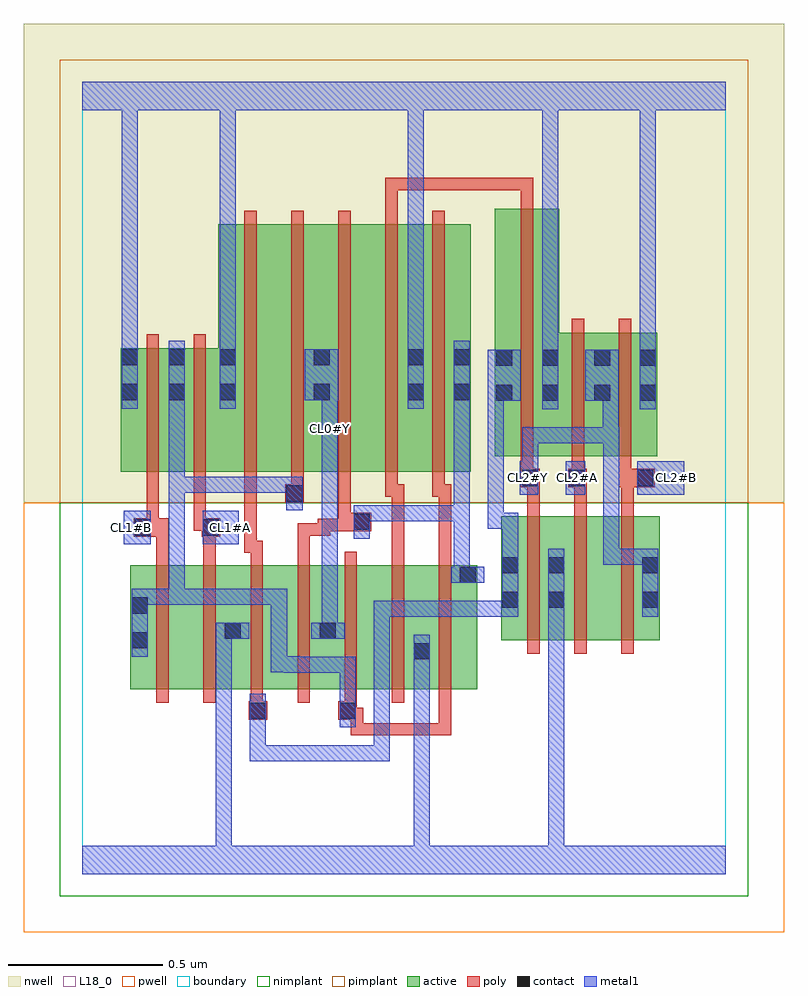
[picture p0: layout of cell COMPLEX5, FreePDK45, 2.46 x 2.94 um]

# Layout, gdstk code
import gdstk
lib = gdstk.Library(unit=1e-6, precision=1e-09)
def R(c, l, rs):  # rectangles x0, y0, x1, y1
    for r in rs: c.add(gdstk.rectangle(r[:2], r[2:], *l))
def A(c, l, x, y, w, h, nx, ny, dx, dy):  # array of equal rectangles
    R(c, l, [(x+i*dx, y+j*dy, x+i*dx+w, y+j*dy+h) for i in range(nx) for j in range(ny)])
active = (1, 0)
pwell = (2, 0)
nwell = (3, 0)
nimplant = (4, 0)
pimplant = (5, 0)
poly = (9, 0)
contact = (10, 0)
metal1 = (11, 0)
L18_0 = (18, 0)
boundary = (235, 0)

complex5 = lib.new_cell('COMPLEX5')
R(complex5, active, [(0.156,0.598,0.336,0.998), (0.336,0.598,0.516,0.998), (0.456,0.598,0.64,0.998), (0.64,0.598,0.824,0.998), (0.764,0.598,0.944,0.998), (0.764,0.598,0.824,0.816), (0.944,0.598,1.128,0.998), (1.068,0.598,1.276,0.998), (1.068,0.598,1.128,0.75), (0.156,0.726,0.216,0.998), (0.456,0.756,0.516,0.816), (1.216,0.756,1.276,0.998), (1.354,0.756,1.414,1.156), (1.354,0.756,1.562,1.156), (1.502,0.756,1.562,1.156), (1.502,0.756,1.686,1.156), (1.686,0.756,1.866,1.156), (1.806,0.756,1.866,1.156), (0.124,1.3,0.184,1.7), (0.124,1.3,0.336,1.7), (0.276,1.3,0.336,1.7), (0.276,1.3,0.5,1.7), (0.44,1.3,0.62,2.1), (0.44,1.3,0.5,1.82), (0.62,1.3,0.804,2.1), (0.744,1.3,0.804,2.044), (0.744,1.3,0.924,2.1), (0.924,1.3,1.108,2.1), (1.048,1.3,1.256,2.1), (1.048,1.3,1.108,2.044), (1.196,1.3,1.256,2.044), (1.334,1.35,1.542,2.15), (1.334,1.35,1.394,2.044), (1.482,1.35,1.71,1.75), (1.482,1.35,1.542,2.15), (1.65,1.35,1.71,1.75), (1.65,1.35,1.858,1.75), (1.798,1.35,1.858,1.698)])
R(complex5, pwell, [(-0.188,-0.188,2.268,1.2)])
R(complex5, nwell, [(-0.188,1.2,2.268,2.748)])
R(complex5, nimplant, [(-0.072,-0.072,2.152,1.2)])
R(complex5, pimplant, [(-0.072,1.2,2.152,2.632)])
A(complex5, poly, 0.24, 0.554, 0.04, 0.488, 7, 1, 0.152, 0)
A(complex5, poly, 1.438, 0.712, 0.04, 0.488, 3, 1, 0.152, 0)
A(complex5, poly, 1.438, 1.16, 0.04, 0.13, 3, 1, 0.152, 0)
A(complex5, poly, 0.524, 1.256, 0.04, 0.888, 5, 1, 0.152, 0)
R(complex5, poly, [(0.868,0.448,0.994,0.488), (0.868,0.448,0.908,0.538), (0.954,0.448,0.994,0.488), (0.954,0.448,1.192,0.488), (1.152,0.448,1.192,0.488), (1.152,0.448,1.192,0.488), (1.152,0.448,1.192,0.488), (1.152,0.448,1.192,0.594), (0.538,0.498,0.598,0.558), (0.828,0.498,0.888,0.558), (0.848,0.498,0.908,0.538), (0.544,0.518,0.584,0.594), (0.848,0.518,0.888,0.594), (0.24,1.002,0.28,1.13), (0.392,1.002,0.432,1.13), (0.544,1.002,0.584,1.078), (0.696,1.002,0.736,1.134), (1,1.002,1.04,1.26), (1.152,1.002,1.192,1.26), (0.524,1.038,0.564,1.296), (0.524,1.038,0.584,1.078), (0.544,1.038,0.584,1.078), (0.544,1.038,0.584,1.078), (0.166,1.09,0.28,1.15), (0.386,1.09,0.446,1.15), (0.696,1.094,0.736,1.134), (0.696,1.094,0.802,1.134), (0.762,1.094,0.802,1.148), (0.762,1.108,0.868,1.148), (0.828,1.108,0.934,1.168), (0.208,1.11,0.248,1.15), (0.208,1.11,0.248,1.15), (0.208,1.11,0.248,1.296), (0.36,1.11,0.4,1.296), (0.36,1.11,0.426,1.15), (0.386,1.11,0.426,1.15), (0.828,1.128,0.868,1.168), (0.828,1.128,0.868,1.168), (0.828,1.128,0.868,1.296), (0.656,1.2,0.716,1.26), (0.676,1.22,0.716,1.296), (0.98,1.22,1.02,1.296), (0.98,1.22,1.04,1.26), (1,1.22,1.04,1.26), (1,1.22,1.04,1.26), (1.132,1.22,1.172,1.296), (1.132,1.22,1.172,1.26), (1.132,1.22,1.172,1.26), (1.132,1.22,1.192,1.26), (1.418,1.25,1.478,1.31), (1.438,1.25,1.478,1.29), (1.438,1.25,1.478,1.29), (1.57,1.25,1.63,1.31), (1.734,1.25,1.85,1.31), (1.742,1.25,1.782,1.29), (1.742,1.25,1.782,1.29), (0.208,1.256,0.248,1.744), (0.36,1.256,0.4,1.744), (1.418,1.27,1.458,1.346), (1.582,1.27,1.622,1.346), (1.582,1.27,1.622,1.31), (1.582,1.27,1.622,1.31), (1.734,1.27,1.774,1.346), (1.418,1.306,1.458,2.194), (1.582,1.306,1.622,1.794), (1.734,1.306,1.774,1.794), (0.98,2.104,1.02,2.25), (1.418,2.154,1.458,2.25), (0.98,2.21,1.02,2.25), (0.98,2.21,1.04,2.25), (1,2.21,1.04,2.25), (1,2.21,1.352,2.25), (1.312,2.21,1.352,2.25), (1.312,2.21,1.352,2.25), (1.312,2.21,1.352,2.25), (1.312,2.21,1.458,2.25), (1.418,2.21,1.458,2.25), (1.418,2.21,1.458,2.25), (1.418,2.21,1.458,2.25)])
A(complex5, contact, 0.444, 1.532, 0.052, 0.052, 3, 2, 0.304, 0.112)
R(complex5, contact, [(0.542,0.502,0.594,0.554), (0.832,0.502,0.884,0.554), (1.072,0.694,1.124,0.746), (0.16,0.73,0.212,0.782), (0.46,0.76,0.512,0.812), (0.768,0.76,0.82,0.812), (0.16,0.842,0.212,0.894), (1.358,0.86,1.41,0.912), (1.506,0.86,1.558,0.912), (1.81,0.86,1.862,0.912), (1.22,0.942,1.272,0.994), (1.358,0.972,1.41,1.024), (1.506,0.972,1.558,1.024), (1.81,0.972,1.862,1.024), (0.17,1.094,0.222,1.146), (0.39,1.094,0.442,1.146), (0.878,1.112,0.93,1.164), (0.66,1.204,0.712,1.256), (1.422,1.254,1.474,1.306), (1.574,1.254,1.626,1.306), (1.794,1.254,1.846,1.306), (1.338,1.53,1.39,1.582), (1.486,1.53,1.538,1.582), (1.654,1.53,1.706,1.582), (1.802,1.53,1.854,1.582), (0.128,1.532,0.18,1.584), (0.28,1.532,0.332,1.584), (1.2,1.532,1.252,1.584), (1.338,1.642,1.39,1.694), (1.486,1.642,1.538,1.694), (1.654,1.642,1.706,1.694), (1.802,1.642,1.854,1.694), (0.128,1.644,0.18,1.696), (0.28,1.644,0.332,1.696), (1.2,1.644,1.252,1.696)])
R(complex5, metal1, [(0,0,2.08,0.092), (0.432,0.04,0.484,0.092), (0.432,0.04,0.484,0.092), (0.432,0.04,0.484,0.092), (0.432,0.04,0.484,0.092), (0.432,0.04,0.484,0.092), (0.432,0.04,0.484,0.092), (0.432,0.04,0.484,0.092), (0.432,0.04,0.484,0.092), (0.432,0.04,0.484,0.092), (0.432,0.04,0.484,0.092), (0.432,0.04,0.484,0.092), (0.432,0.04,0.484,0.092), (0.432,0.04,0.484,0.812), (1.072,0.04,1.124,0.092), (1.072,0.04,1.124,0.092), (1.072,0.04,1.124,0.092), (1.072,0.04,1.124,0.092), (1.072,0.04,1.124,0.092), (1.072,0.04,1.124,0.092), (1.072,0.04,1.124,0.092), (1.072,0.04,1.124,0.092), (1.072,0.04,1.124,0.092), (1.072,0.04,1.124,0.092), (1.072,0.04,1.124,0.718), (1.506,0.04,1.558,0.092), (1.506,0.04,1.558,0.092), (1.506,0.04,1.558,0.092), (1.506,0.04,1.558,0.092), (1.506,0.04,1.558,0.092), (1.506,0.04,1.558,0.092), (1.506,0.04,1.558,0.092), (1.506,0.04,1.558,0.092), (1.506,0.04,1.558,0.092), (1.506,0.04,1.558,0.092), (1.506,0.04,1.558,0.092), (1.506,0.04,1.558,0.092), (1.506,0.04,1.558,0.884), (0.542,0.364,0.594,0.416), (0.542,0.364,0.594,0.526), (0.542,0.364,0.774,0.416), (0.722,0.364,0.774,0.416), (0.722,0.364,0.774,0.416), (0.722,0.364,0.774,0.416), (0.722,0.364,0.994,0.416), (0.942,0.364,0.994,0.416), (0.942,0.364,0.994,0.416), (0.942,0.364,0.994,0.416), (0.942,0.364,0.994,0.884), (0.542,0.474,0.594,0.526), (0.542,0.474,0.594,0.526), (0.542,0.474,0.594,0.582), (0.832,0.474,0.884,0.582), (0.832,0.53,0.884,0.582), (0.832,0.53,0.884,0.582), (0.832,0.53,0.884,0.702), (0.652,0.65,0.884,0.702), (0.652,0.65,0.704,0.704), (0.832,0.65,0.884,0.702), (0.61,0.652,0.662,0.704), (0.61,0.652,0.662,0.704), (0.61,0.652,0.662,0.704), (0.61,0.652,0.662,0.704), (0.61,0.652,0.662,0.704), (0.61,0.652,0.704,0.704), (0.61,0.652,0.662,0.922), (1.072,0.666,1.124,0.718), (1.072,0.666,1.124,0.718), (1.072,0.666,1.124,0.774), (0.16,0.702,0.212,0.922), (0.432,0.76,0.54,0.812), (0.74,0.76,0.848,0.812), (0.774,0.76,0.826,1.438), (0.942,0.832,0.994,0.884), (0.942,0.832,0.994,0.884), (0.942,0.832,0.994,0.884), (0.942,0.832,0.994,0.884), (0.942,0.832,0.994,0.884), (0.942,0.832,1.104,0.884), (1.052,0.832,1.104,0.884), (1.052,0.832,1.104,0.884), (1.052,0.832,1.104,0.884), (1.052,0.832,1.252,0.884), (1.2,0.832,1.252,0.884), (1.2,0.832,1.252,0.884), (1.2,0.832,1.252,0.884), (1.2,0.832,1.41,0.884), (1.358,0.832,1.41,1.052), (1.506,0.832,1.558,1.052), (1.81,0.832,1.862,1.052), (0.16,0.87,0.212,0.922), (0.16,0.87,0.212,0.922), (0.16,0.87,0.332,0.922), (0.28,0.87,0.332,0.922), (0.28,0.87,0.332,0.922), (0.28,0.87,0.332,0.922), (0.28,0.87,0.484,0.922), (0.28,0.87,0.332,1.284), (0.432,0.87,0.484,0.922), (0.432,0.87,0.484,0.922), (0.432,0.87,0.484,0.922), (0.432,0.87,0.662,0.922), (0.61,0.87,0.662,0.922), (1.192,0.942,1.3,0.994), (1.2,0.942,1.252,1.192), (1.358,1,1.41,1.052), (1.358,1,1.41,1.052), (1.358,1,1.41,1.052), (1.358,1,1.41,1.052), (1.358,1,1.41,1.168), (1.684,1,1.736,1.052), (1.684,1,1.862,1.052), (1.684,1,1.736,1.444), (1.81,1,1.862,1.052), (1.81,1,1.862,1.052), (0.134,1.066,0.222,1.174), (0.39,1.066,0.506,1.174), (0.878,1.084,0.93,1.192), (1.31,1.116,1.362,1.582), (1.31,1.116,1.41,1.168), (0.878,1.14,0.994,1.192), (0.942,1.14,0.994,1.192), (0.942,1.14,1.134,1.192), (1.082,1.14,1.134,1.192), (1.082,1.14,1.134,1.192), (1.082,1.14,1.134,1.192), (1.082,1.14,1.252,1.192), (1.2,1.14,1.252,1.192), (1.2,1.14,1.252,1.192), (1.2,1.14,1.252,1.192), (1.2,1.14,1.252,1.556), (0.66,1.176,0.712,1.284), (1.414,1.226,1.474,1.334), (1.562,1.226,1.626,1.334), (1.794,1.226,1.946,1.334), (0.28,1.232,0.332,1.284), (0.28,1.232,0.332,1.284), (0.28,1.232,0.332,1.284), (0.28,1.232,0.332,1.284), (0.28,1.232,0.332,1.284), (0.28,1.232,0.484,1.284), (0.28,1.232,0.332,1.556), (0.432,1.232,0.484,1.284), (0.432,1.232,0.484,1.284), (0.432,1.232,0.484,1.284), (0.432,1.232,0.662,1.284), (0.61,1.232,0.662,1.284), (0.61,1.232,0.712,1.284), (1.422,1.282,1.474,1.334), (1.422,1.282,1.474,1.444), (0.774,1.386,0.826,1.494), (1.422,1.392,1.734,1.444), (1.682,1.392,1.734,1.444), (1.682,1.392,1.734,1.444), (1.682,1.392,1.734,1.582), (1.682,1.392,1.736,1.444), (1.684,1.392,1.736,1.444), (1.684,1.392,1.736,1.444), (0.774,1.442,0.826,1.494), (0.774,1.442,0.826,1.494), (0.774,1.442,0.826,1.584), (1.486,1.502,1.538,1.722), (1.802,1.502,1.854,1.722), (0.128,1.504,0.18,1.724), (0.28,1.504,0.332,1.724), (0.444,1.504,0.496,1.724), (1.052,1.504,1.104,1.724), (1.2,1.504,1.252,1.556), (1.2,1.504,1.252,1.556), (1.2,1.504,1.252,1.724), (1.31,1.53,1.362,1.582), (1.31,1.53,1.362,1.582), (1.31,1.53,1.418,1.694), (1.626,1.53,1.734,1.694), (0.72,1.532,0.828,1.696), (1.486,1.67,1.538,1.722), (1.486,1.67,1.538,1.722), (1.486,1.67,1.538,1.722), (1.486,1.67,1.538,1.722), (1.486,1.67,1.538,1.722), (1.486,1.67,1.538,1.722), (1.486,1.67,1.538,1.722), (1.486,1.67,1.538,1.722), (1.486,1.67,1.538,2.52), (1.802,1.67,1.854,1.722), (1.802,1.67,1.854,1.722), (1.802,1.67,1.854,2.52), (0.128,1.672,0.18,1.724), (0.128,1.672,0.18,1.724), (0.128,1.672,0.18,2.52), (0.444,1.672,0.496,1.724), (0.444,1.672,0.496,1.724), (0.444,1.672,0.496,1.724), (0.444,1.672,0.496,1.724), (0.444,1.672,0.496,1.724), (0.444,1.672,0.496,1.724), (0.444,1.672,0.496,2.52), (1.052,1.672,1.104,1.724), (1.052,1.672,1.104,1.724), (1.052,1.672,1.104,1.724), (1.052,1.672,1.104,1.724), (1.052,1.672,1.104,2.52), (0,2.468,2.08,2.56), (0.128,2.468,0.18,2.52), (0.128,2.468,0.18,2.52), (0.128,2.468,0.18,2.52), (0.128,2.468,0.18,2.52), (0.128,2.468,0.18,2.52), (0.128,2.468,0.18,2.52), (0.128,2.468,0.18,2.52), (0.128,2.468,0.18,2.52), (0.128,2.468,0.18,2.52), (0.128,2.468,0.18,2.52), (0.128,2.468,0.18,2.52), (0.128,2.468,0.18,2.52), (0.128,2.468,0.18,2.52), (0.128,2.468,0.18,2.52), (0.444,2.468,0.496,2.52), (0.444,2.468,0.496,2.52), (1.052,2.468,1.104,2.52), (1.052,2.468,1.104,2.52), (1.052,2.468,1.104,2.52), (1.052,2.468,1.104,2.52), (1.802,2.468,1.854,2.52), (1.802,2.468,1.854,2.52), (1.802,2.468,1.854,2.52), (1.802,2.468,1.854,2.52), (1.802,2.468,1.854,2.52), (1.802,2.468,1.854,2.52), (1.802,2.468,1.854,2.52), (1.802,2.468,1.854,2.52), (1.802,2.468,1.854,2.52), (1.802,2.468,1.854,2.52), (1.802,2.468,1.854,2.52), (1.802,2.468,1.854,2.52), (1.802,2.468,1.854,2.52), (1.802,2.468,1.854,2.52)])
R(complex5, L18_0, [(0,0,2.08,0.092), (0.432,0.04,0.484,0.092), (0.432,0.04,0.484,0.092), (0.432,0.04,0.484,0.092), (0.432,0.04,0.484,0.092), (0.432,0.04,0.484,0.092), (0.432,0.04,0.484,0.092), (0.432,0.04,0.484,0.092), (0.432,0.04,0.484,0.092), (0.432,0.04,0.484,0.092), (0.432,0.04,0.484,0.092), (0.432,0.04,0.484,0.092), (0.432,0.04,0.484,0.092), (0.432,0.04,0.484,0.812), (1.072,0.04,1.124,0.092), (1.072,0.04,1.124,0.092), (1.072,0.04,1.124,0.092), (1.072,0.04,1.124,0.092), (1.072,0.04,1.124,0.092), (1.072,0.04,1.124,0.092), (1.072,0.04,1.124,0.092), (1.072,0.04,1.124,0.092), (1.072,0.04,1.124,0.092), (1.072,0.04,1.124,0.092), (1.072,0.04,1.124,0.718), (1.506,0.04,1.558,0.092), (1.506,0.04,1.558,0.092), (1.506,0.04,1.558,0.092), (1.506,0.04,1.558,0.092), (1.506,0.04,1.558,0.092), (1.506,0.04,1.558,0.092), (1.506,0.04,1.558,0.092), (1.506,0.04,1.558,0.092), (1.506,0.04,1.558,0.092), (1.506,0.04,1.558,0.092), (1.506,0.04,1.558,0.092), (1.506,0.04,1.558,0.092), (1.506,0.04,1.558,0.884), (1.072,0.666,1.124,0.718), (1.072,0.666,1.124,0.718), (1.072,0.666,1.124,0.774), (0.432,0.76,0.54,0.812), (0.74,0.76,0.848,0.812), (0.774,0.76,0.826,1.438), (1.506,0.832,1.558,1.052), (1.81,0.832,1.862,1.052), (1.684,1,1.736,1.052), (1.684,1,1.736,1.444), (1.684,1,1.862,1.052), (1.81,1,1.862,1.052), (1.81,1,1.862,1.052), (0.134,1.066,0.222,1.174), (0.39,1.066,0.506,1.174), (0.134,1.094,0.186,1.146), (0.454,1.094,0.506,1.146), (1.414,1.226,1.474,1.334), (1.562,1.226,1.626,1.334), (1.794,1.226,1.946,1.334), (1.414,1.254,1.466,1.306), (1.574,1.254,1.626,1.306), (1.894,1.254,1.946,1.306), (1.422,1.282,1.474,1.334), (1.422,1.282,1.474,1.444), (0.774,1.386,0.826,1.494), (1.422,1.392,1.734,1.444), (1.682,1.392,1.734,1.444), (1.682,1.392,1.734,1.444), (1.682,1.392,1.736,1.444), (1.682,1.392,1.734,1.582), (1.684,1.392,1.736,1.444), (1.684,1.392,1.736,1.444), (0.774,1.414,0.826,1.466), (0.774,1.442,0.826,1.494), (0.774,1.442,0.826,1.494), (0.774,1.442,0.826,1.584), (1.486,1.502,1.538,1.722), (1.802,1.502,1.854,1.722), (0.128,1.504,0.18,1.724), (0.444,1.504,0.496,1.724), (1.052,1.504,1.104,1.724), (1.626,1.53,1.734,1.694), (0.72,1.532,0.828,1.696), (1.486,1.67,1.538,1.722), (1.486,1.67,1.538,1.722), (1.486,1.67,1.538,1.722), (1.486,1.67,1.538,1.722), (1.486,1.67,1.538,1.722), (1.486,1.67,1.538,1.722), (1.486,1.67,1.538,1.722), (1.486,1.67,1.538,1.722), (1.486,1.67,1.538,2.52), (1.802,1.67,1.854,1.722), (1.802,1.67,1.854,1.722), (1.802,1.67,1.854,2.52), (0.128,1.672,0.18,1.724), (0.128,1.672,0.18,1.724), (0.128,1.672,0.18,2.52), (0.444,1.672,0.496,1.724), (0.444,1.672,0.496,1.724), (0.444,1.672,0.496,1.724), (0.444,1.672,0.496,1.724), (0.444,1.672,0.496,1.724), (0.444,1.672,0.496,1.724), (0.444,1.672,0.496,2.52), (1.052,1.672,1.104,1.724), (1.052,1.672,1.104,1.724), (1.052,1.672,1.104,1.724), (1.052,1.672,1.104,1.724), (1.052,1.672,1.104,2.52), (0,2.468,2.08,2.56), (0.128,2.468,0.18,2.52), (0.128,2.468,0.18,2.52), (0.128,2.468,0.18,2.52), (0.128,2.468,0.18,2.52), (0.128,2.468,0.18,2.52), (0.128,2.468,0.18,2.52), (0.128,2.468,0.18,2.52), (0.128,2.468,0.18,2.52), (0.128,2.468,0.18,2.52), (0.128,2.468,0.18,2.52), (0.128,2.468,0.18,2.52), (0.128,2.468,0.18,2.52), (0.128,2.468,0.18,2.52), (0.128,2.468,0.18,2.52), (0.444,2.468,0.496,2.52), (0.444,2.468,0.496,2.52), (1.052,2.468,1.104,2.52), (1.052,2.468,1.104,2.52), (1.052,2.468,1.104,2.52), (1.052,2.468,1.104,2.52), (1.802,2.468,1.854,2.52), (1.802,2.468,1.854,2.52), (1.802,2.468,1.854,2.52), (1.802,2.468,1.854,2.52), (1.802,2.468,1.854,2.52), (1.802,2.468,1.854,2.52), (1.802,2.468,1.854,2.52), (1.802,2.468,1.854,2.52), (1.802,2.468,1.854,2.52), (1.802,2.468,1.854,2.52), (1.802,2.468,1.854,2.52), (1.802,2.468,1.854,2.52), (1.802,2.468,1.854,2.52), (1.802,2.468,1.854,2.52)])
R(complex5, boundary, [(0,0,2.08,2.56)])
complex5.add(gdstk.Label('CL0#Y', (0.8,1.44), layer=11, texttype=0))
complex5.add(gdstk.Label('CL1#A', (0.48,1.12), layer=11, texttype=0))
complex5.add(gdstk.Label('CL1#B', (0.16,1.12), layer=11, texttype=0))
complex5.add(gdstk.Label('CL2#A', (1.6,1.28), layer=11, texttype=0))
complex5.add(gdstk.Label('CL2#B', (1.92,1.28), layer=11, texttype=0))
complex5.add(gdstk.Label('CL2#Y', (1.44,1.28), layer=11, texttype=0))

lib.write_gds('COMPLEX5.gds')
